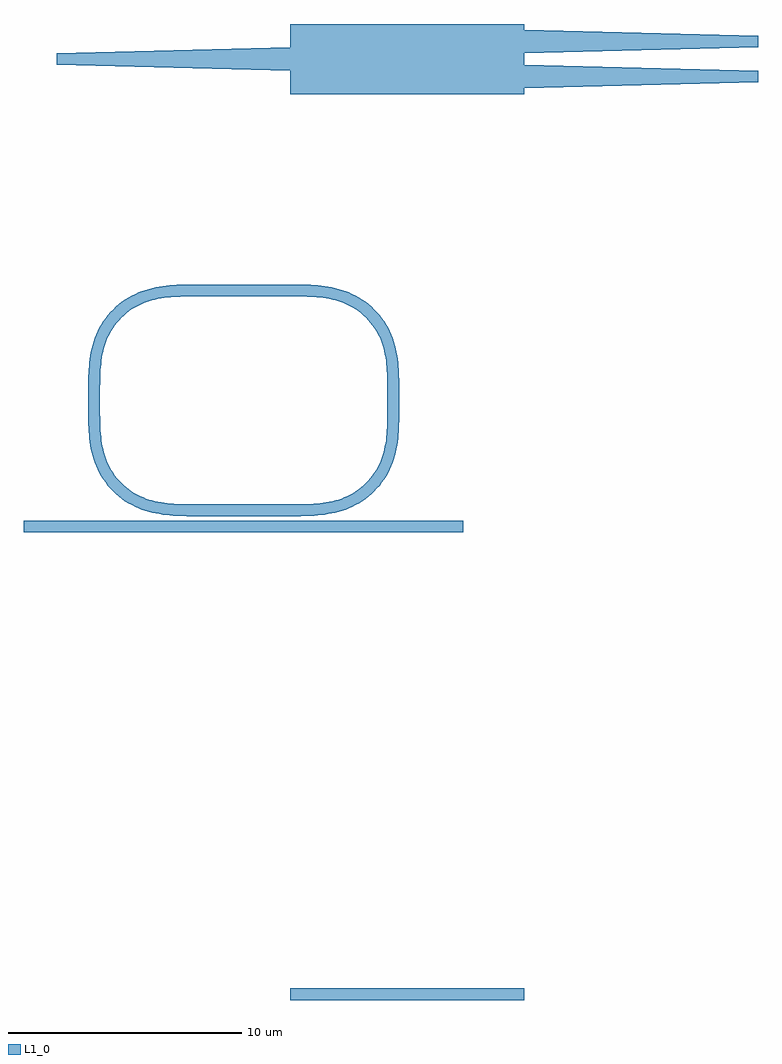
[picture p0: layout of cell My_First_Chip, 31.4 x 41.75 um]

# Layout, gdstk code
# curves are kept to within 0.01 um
from math import pi, radians
import gdstk
lib = gdstk.Library(unit=1e-6, precision=1e-09)
def R(c, l, rs):  # rectangles x0, y0, x1, y1
    for r in rs: c.add(gdstk.rectangle(r[:2], r[2:], *l))
def P(c, l, *ps):  # polygons
    for p in ps: c.add(gdstk.Polygon(p, *l))
L1_0 = (1, 0)

straight_gdsfactorypcomp = lib.new_cell('straight_gdsfactorypcomponentspwaveguidespstraight_L10__d72987f6')
R(straight_gdsfactorypcomp, L1_0, [(0,-0.25,10,0.25)])

coupler_ring_gdsfactoryp = lib.new_cell('coupler_ring_gdsfactorypcomponentspcouplerspcoupler_rin_e6edf031')
R(coupler_ring_gdsfactoryp, L1_0, [(-11.4,-0.25,7.4,0.25)])
P(coupler_ring_gdsfactoryp, L1_0, [(-4.144,0.45),(-4.873,0.464),(-5.318,0.499),(-5.765,0.567),(-6.208,0.68),(-6.649,0.852),(-6.94,1.007),(-7.343,1.291),(-7.587,1.513),(-7.809,1.757),(-8.093,2.16),(-8.315,2.601),(-8.464,3.039),(-8.56,3.484),(-8.616,3.931),(-8.642,4.374),(-8.65,5.1),(-8.15,5.1),(-8.146,4.531),(-8.118,3.974),(-8.043,3.433),(-7.944,3.042),(-7.796,2.665),(-7.589,2.299),(-7.422,2.074),(-7.132,1.77),(-6.916,1.592),(-6.56,1.367),(-6.307,1.247),(-5.929,1.119),(-5.534,1.033),(-5.126,0.982),(-4.709,0.958),(-4.143,0.95),(0.143,0.95),(0.849,0.964),(1.263,0.996),(1.667,1.057),(2.058,1.156),(2.435,1.304),(2.801,1.511),(3.132,1.77),(3.422,2.074),(3.664,2.418),(3.796,2.665),(3.901,2.916),(4.043,3.433),(4.087,3.701),(4.128,4.112),(4.15,5.1),(4.65,5.1),(4.636,4.227),(4.583,3.633),(4.464,3.039),(4.315,2.601),(4.174,2.304),(4.005,2.021),(3.701,1.632),(3.343,1.291),(3.079,1.095),(2.796,0.926),(2.499,0.785),(2.061,0.636),(1.616,0.54),(1.021,0.473),(0.144,0.45)])

c_straight_gdsfactorypcomp = lib.new_cell('straight_gdsfactorypcomponentspwaveguidespstraight_L4_N_41eea270')
R(c_straight_gdsfactorypcomp, L1_0, [(0,-0.25,4,0.25)])

bend_euler_gdsfactorypco = lib.new_cell('bend_euler_gdsfactorypcomponentspbendspbend_euler_R4p4__09620874')
P(bend_euler_gdsfactorypco, L1_0, [(0,-0.25),(0,0.25),(0.569,0.254),(1.126,0.282),(1.534,0.333),(1.929,0.419),(2.307,0.547),(2.682,0.736),(2.916,0.892),(3.234,1.166),(3.508,1.484),(3.664,1.718),(3.853,2.093),(3.981,2.471),(4.067,2.866),(4.118,3.274),(4.146,3.831),(4.15,4.4),(4.65,4.4),(4.642,3.674),(4.616,3.231),(4.56,2.784),(4.464,2.339),(4.315,1.901),(4.093,1.46),(3.809,1.057),(3.587,0.813),(3.343,0.591),(2.94,0.307),(2.499,0.085),(2.061,-0.064),(1.616,-0.16),(1.169,-0.216),(0.726,-0.242)])

c_straight_gdsfactorypcomp_ = lib.new_cell('straight_gdsfactorypcomponentspwaveguidespstraight_L0p6_b36c65e4')
R(c_straight_gdsfactorypcomp_, L1_0, [(0,-0.25,0.6,0.25)])

ring_single_gdsfactorypc = lib.new_cell('ring_single_gdsfactorypcomponentspringspring_single_G0p_faa81c05')
ring_single_gdsfactorypc.add(gdstk.Reference(coupler_ring_gdsfactoryp, (0,0)))
ring_single_gdsfactorypc.add(gdstk.Reference(c_straight_gdsfactorypcomp, (0,10.1), rotation=pi))
ring_single_gdsfactorypc.add(gdstk.Reference(bend_euler_gdsfactorypco, (-4,10.1), rotation=pi))
ring_single_gdsfactorypc.add(gdstk.Reference(bend_euler_gdsfactorypco, (4.4,5.7), rotation=pi/2))
ring_single_gdsfactorypc.add(gdstk.Reference(c_straight_gdsfactorypcomp_, (-8.4,5.1), rotation=pi/2))
ring_single_gdsfactorypc.add(gdstk.Reference(c_straight_gdsfactorypcomp_, (4.4,5.7), rotation=3*pi/2))

mmi1x2_gdsfactorypcompon = lib.new_cell('mmi1x2_gdsfactorypcomponentspmmispmmi1x2_WNone_WT1_LT10_87da103e')
P(mmi1x2_gdsfactorypcompon, L1_0, [(0,-1.5),(0,-0.5),(-10,-0.25),(-10,0.25),(0,0.5),(0,1.5),(10,1.5),(10,1.25),(20,1),(20,0.5),(10,0.25),(10,-0.25),(20,-0.5),(20,-1),(10,-1.25),(10,-1.5)])

my_first_chip = lib.new_cell('My_First_Chip')
my_first_chip.add(gdstk.Reference(straight_gdsfactorypcomp, (0,0)))
my_first_chip.add(gdstk.Reference(ring_single_gdsfactorypc, (0,20)))
my_first_chip.add(gdstk.Reference(mmi1x2_gdsfactorypcompon, (0,40)))

lib.write_gds('My_First_Chip.gds')
